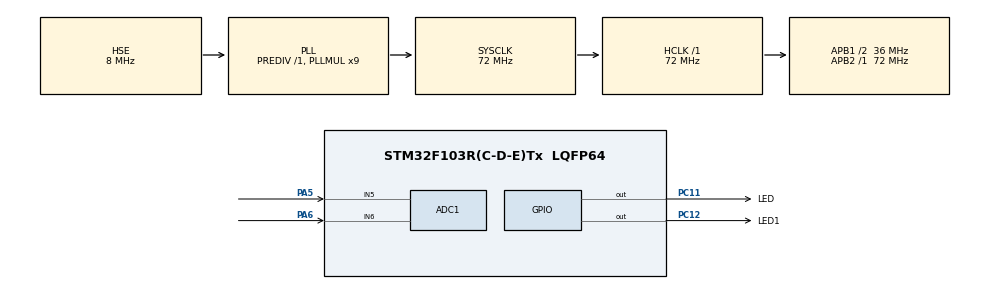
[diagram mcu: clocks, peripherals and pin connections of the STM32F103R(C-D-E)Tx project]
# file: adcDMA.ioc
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ADC1.Channel-4\#ChannelRegularConversion=ADC_CHANNEL_5
ADC1.Channel-5\#ChannelRegularConversion=ADC_CHANNEL_6
ADC1.NbrOfConversion=2
ADC1.NbrOfConversionFlag=1
ADC1.Rank-4\#ChannelRegularConversion=1
ADC1.Rank-5\#ChannelRegularConversion=2
ADC1.SamplingTime-4\#ChannelRegularConversion=ADC_SAMPLETIME_28CYCLES_5
ADC1.SamplingTime-5\#ChannelRegularConversion=ADC_SAMPLETIME_28CYCLES_5
ADC1.master=1
Dma.ADC1.0.Direction=DMA_PERIPH_TO_MEMORY
Dma.ADC1.0.Instance=DMA1_Channel1
Dma.ADC1.0.MemDataAlignment=DMA_MDATAALIGN_WORD
Dma.ADC1.0.MemInc=DMA_MINC_ENABLE
Dma.ADC1.0.Mode=DMA_CIRCULAR
Dma.ADC1.0.PeriphDataAlignment=DMA_PDATAALIGN_WORD
Dma.ADC1.0.PeriphInc=DMA_PINC_DISABLE
Dma.ADC1.0.Priority=DMA_PRIORITY_LOW
Dma.Request0=ADC1
Mcu.Family=STM32F1
Mcu.Name=STM32F103R(C-D-E)Tx
Mcu.Package=LQFP64
NVIC.DMA1_Channel1_IRQn=true\:0\:0\:true\:false\:true\:false
NVIC.PriorityGroup=NVIC_PRIORITYGROUP_4
PA13.Mode=Serial_Wire
PA13.Signal=SYS_JTMS-SWDIO
PA14.Mode=Serial_Wire
PA14.Signal=SYS_JTCK-SWCLK
PA5.Signal=ADCx_IN5
PA6.Signal=ADCx_IN6
PC11.GPIO_Label=LED
PC11.Signal=GPIO_Output
PC12.GPIO_Label=LED1
PC12.Signal=GPIO_Output
PD0-OSC_IN.Mode=HSE-External-Oscillator
PD0-OSC_IN.Signal=RCC_OSC_IN
PD1-OSC_OUT.Mode=HSE-External-Oscillator
PD1-OSC_OUT.Signal=RCC_OSC_OUT
ProjectManager.HeapSize=0x200
ProjectManager.StackSize=0x400
ProjectManager.TargetToolchain=MDK-ARM V5
RCC.ADCPresc=RCC_ADCPCLK2_DIV6
RCC.AHBFreq_Value=72000000
RCC.APB1CLKDivider=RCC_HCLK_DIV2
RCC.APB1Freq_Value=36000000
RCC.APB1TimFreq_Value=72000000
RCC.APB2Freq_Value=72000000
RCC.APB2TimFreq_Value=72000000
RCC.HCLKFreq_Value=72000000
RCC.PLLMUL=RCC_PLL_MUL9
RCC.PLLSourceVirtual=RCC_PLLSOURCE_HSE
RCC.SYSCLKFreq_VALUE=72000000
RCC.SYSCLKSource=RCC_SYSCLKSOURCE_PLLCLK
RCC.USBFreq_Value=72000000
SH.ADCx_IN5.0=ADC1_IN5,IN5
SH.ADCx_IN6.0=ADC1_IN6,IN6
board=adcDMA

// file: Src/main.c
/**
  ******************************************************************************
  * File Name          : main.c
  * Description        : Main program body
  ******************************************************************************
  ** This notice applies to any and all portions of this file
  * that are not between comment pairs USER CODE BEGIN and
  * USER CODE END. Other portions of this file, whether
  * inserted by the user or by software development tools
  * are owned by their respective copyright owners.
  *
  * COPYRIGHT(c) 2020 STMicroelectronics
  *
  * Redistribution and use in source and binary forms, with or without modification,
  * are permitted provided that the following conditions are met:
  *   1. Redistributions of source code must retain the above copyright notice,
  *      this list of conditions and the following disclaimer.
  *   2. Redistributions in binary form must reproduce the above copyright notice,
  *      this list of conditions and the following disclaimer in the documentation
  *      and/or other materials provided with the distribution.
  *   3. Neither the name of STMicroelectronics nor the names of its contributors
  *      may be used to endorse or promote products derived from this software
  *      without specific prior written permission.
  *
  * THIS SOFTWARE IS PROVIDED BY THE COPYRIGHT HOLDERS AND CONTRIBUTORS "AS IS"
  * AND ANY EXPRESS OR IMPLIED WARRANTIES, INCLUDING, BUT NOT LIMITED TO, THE
  * IMPLIED WARRANTIES OF MERCHANTABILITY AND FITNESS FOR A PARTICULAR PURPOSE ARE
  * DISCLAIMED. IN NO EVENT SHALL THE COPYRIGHT HOLDER OR CONTRIBUTORS BE LIABLE
  * FOR ANY DIRECT, INDIRECT, INCIDENTAL, SPECIAL, EXEMPLARY, OR CONSEQUENTIAL
  * DAMAGES (INCLUDING, BUT NOT LIMITED TO, PROCUREMENT OF SUBSTITUTE GOODS OR
  * SERVICES; LOSS OF USE, DATA, OR PROFITS; OR BUSINESS INTERRUPTION) HOWEVER
  * CAUSED AND ON ANY THEORY OF LIABILITY, WHETHER IN CONTRACT, STRICT LIABILITY,
  * OR TORT (INCLUDING NEGLIGENCE OR OTHERWISE) ARISING IN ANY WAY OUT OF THE USE
  * OF THIS SOFTWARE, EVEN IF ADVISED OF THE POSSIBILITY OF SUCH DAMAGE.
  *
  ******************************************************************************
  */

#include "main.h"
#include "stm32f1xx_hal.h"

/* USER CODE BEGIN Includes */
#include "stdbool.h"
/* USER CODE END Includes */

ADC_HandleTypeDef hadc1;
DMA_HandleTypeDef hdma_adc1;

/* USER CODE BEGIN PV */
/* Private variables ---------------------------------------------------------*/

/* USER CODE END PV */

void SystemClock_Config(void);
static void MX_GPIO_Init(void);
static void MX_DMA_Init(void);
static void MX_ADC1_Init(void);

/* USER CODE BEGIN PFP */
/* Private function prototypes -----------------------------------------------*/
volatile uint32_t adc1[2];
volatile bool start =0;
/* USER CODE END PFP */

/* USER CODE BEGIN 0 */
void sensoe (void){
		HAL_ADC_Start_DMA(&hadc1,(uint32_t*)&adc1,2);
		HAL_Delay(1);
			if (adc1[0] >3000) {
			HAL_GPIO_WritePin(LED_GPIO_Port,LED_Pin,1);
			HAL_GPIO_WritePin(LED1_GPIO_Port,LED1_Pin,0);
			start = 0;
			//HAL_ADC_Stop_DMA(&hadc1);
			}
			if (adc1[1] >3000) {
			HAL_GPIO_WritePin(LED_GPIO_Port,LED_Pin,0);
			HAL_GPIO_WritePin(LED1_GPIO_Port,LED1_Pin,1);
			start = 0;
			//HAL_ADC_Stop_DMA(&hadc1);
			}
			start =1 ;
		HAL_ADC_Start_DMA(&hadc1,(uint32_t*)&adc1,2);
}
/* USER CODE END 0 */

int main(void)
{

  /* MCU Configuration----------------------------------------------------------*/

  /* Reset of all peripherals, Initializes the Flash interface and the Systick. */
  HAL_Init();

  /* Configure the system clock */
  SystemClock_Config();

  /* Initialize all configured peripherals */
  MX_GPIO_Init();
  MX_DMA_Init();
  MX_ADC1_Init();
	sensoe();

  /* Infinite loop */
  while (1)
  {
  /* USER CODE BEGIN 3 */
	while(start){
		HAL_GPIO_TogglePin(LED1_GPIO_Port,LED1_Pin);
		HAL_Delay(1000);
		HAL_GPIO_TogglePin(LED_GPIO_Port,LED_Pin);
		HAL_Delay(1000);
		}
  }
  /* USER CODE END 3 */

}

/** System Clock Configuration
*/
void SystemClock_Config(void)
{

  RCC_OscInitTypeDef RCC_OscInitStruct;
  RCC_ClkInitTypeDef RCC_ClkInitStruct;
  RCC_PeriphCLKInitTypeDef PeriphClkInit;

    /**Initializes the CPU, AHB and APB busses clocks
    */
  RCC_OscInitStruct.OscillatorType = RCC_OSCILLATORTYPE_HSE;
  RCC_OscInitStruct.HSEState = RCC_HSE_ON;
  RCC_OscInitStruct.HSEPredivValue = RCC_HSE_PREDIV_DIV1;
  RCC_OscInitStruct.HSIState = RCC_HSI_ON;
  RCC_OscInitStruct.PLL.PLLState = RCC_PLL_ON;
  RCC_OscInitStruct.PLL.PLLSource = RCC_PLLSOURCE_HSE;
  RCC_OscInitStruct.PLL.PLLMUL = RCC_PLL_MUL9;
  if (HAL_RCC_OscConfig(&RCC_OscInitStruct) != HAL_OK)
  {
    _Error_Handler(__FILE__, __LINE__);
  }

    /**Initializes the CPU, AHB and APB busses clocks
    */
  RCC_ClkInitStruct.ClockType = RCC_CLOCKTYPE_HCLK|RCC_CLOCKTYPE_SYSCLK
                              |RCC_CLOCKTYPE_PCLK1|RCC_CLOCKTYPE_PCLK2;
  RCC_ClkInitStruct.SYSCLKSource = RCC_SYSCLKSOURCE_PLLCLK;
  RCC_ClkInitStruct.AHBCLKDivider = RCC_SYSCLK_DIV1;
  RCC_ClkInitStruct.APB1CLKDivider = RCC_HCLK_DIV2;
  RCC_ClkInitStruct.APB2CLKDivider = RCC_HCLK_DIV1;

  if (HAL_RCC_ClockConfig(&RCC_ClkInitStruct, FLASH_LATENCY_2) != HAL_OK)
  {
    _Error_Handler(__FILE__, __LINE__);
  }

  PeriphClkInit.PeriphClockSelection = RCC_PERIPHCLK_ADC;
  PeriphClkInit.AdcClockSelection = RCC_ADCPCLK2_DIV6;
  if (HAL_RCCEx_PeriphCLKConfig(&PeriphClkInit) != HAL_OK)
  {
    _Error_Handler(__FILE__, __LINE__);
  }

    /**Configure the Systick interrupt time
    */
  HAL_SYSTICK_Config(HAL_RCC_GetHCLKFreq()/1000);

    /**Configure the Systick
    */
  HAL_SYSTICK_CLKSourceConfig(SYSTICK_CLKSOURCE_HCLK);

  /* SysTick_IRQn interrupt configuration */
  HAL_NVIC_SetPriority(SysTick_IRQn, 0, 0);
}

/* ADC1 init function */
static void MX_ADC1_Init(void)
{

  ADC_ChannelConfTypeDef sConfig;

    /**Common config
    */
  hadc1.Instance = ADC1;
  hadc1.Init.ScanConvMode = ADC_SCAN_ENABLE;
  hadc1.Init.ContinuousConvMode = DISABLE;
  hadc1.Init.DiscontinuousConvMode = DISABLE;
  hadc1.Init.ExternalTrigConv = ADC_SOFTWARE_START;
  hadc1.Init.DataAlign = ADC_DATAALIGN_RIGHT;
  hadc1.Init.NbrOfConversion = 2;
  if (HAL_ADC_Init(&hadc1) != HAL_OK)
  {
    _Error_Handler(__FILE__, __LINE__);
  }

    /**Configure Regular Channel
    */
  sConfig.Channel = ADC_CHANNEL_5;
  sConfig.Rank = 1;
  sConfig.SamplingTime = ADC_SAMPLETIME_28CYCLES_5;
  if (HAL_ADC_ConfigChannel(&hadc1, &sConfig) != HAL_OK)
  {
    _Error_Handler(__FILE__, __LINE__);
  }

    /**Configure Regular Channel
    */
  sConfig.Channel = ADC_CHANNEL_6;
  sConfig.Rank = 2;
  if (HAL_ADC_ConfigChannel(&hadc1, &sConfig) != HAL_OK)
  {
    _Error_Handler(__FILE__, __LINE__);
  }

}

static void MX_DMA_Init(void)
{
  /* DMA controller clock enable */
  __HAL_RCC_DMA1_CLK_ENABLE();

  /* DMA interrupt init */
  /* DMA1_Channel1_IRQn interrupt configuration */
  HAL_NVIC_SetPriority(DMA1_Channel1_IRQn, 0, 0);
  HAL_NVIC_EnableIRQ(DMA1_Channel1_IRQn);

}

/** Configure pins as
        * Analog
        * Input
        * Output
        * EVENT_OUT
        * EXTI
*/
static void MX_GPIO_Init(void)
{

  GPIO_InitTypeDef GPIO_InitStruct;

  /* GPIO Ports Clock Enable */
  __HAL_RCC_GPIOD_CLK_ENABLE();
  __HAL_RCC_GPIOA_CLK_ENABLE();
  __HAL_RCC_GPIOC_CLK_ENABLE();

  /*Configure GPIO pin Output Level */
  HAL_GPIO_WritePin(GPIOC, LED_Pin|LED1_Pin, GPIO_PIN_RESET);

  /*Configure GPIO pins : LED_Pin LED1_Pin */
  GPIO_InitStruct.Pin = LED_Pin|LED1_Pin;
  GPIO_InitStruct.Mode = GPIO_MODE_OUTPUT_PP;
  GPIO_InitStruct.Speed = GPIO_SPEED_FREQ_LOW;
  HAL_GPIO_Init(GPIOC, &GPIO_InitStruct);

}

void _Error_Handler(char * file, int line)
{
  while(1)
  {
  }
}

/************************ (C) COPYRIGHT STMicroelectronics *****END OF FILE****/
